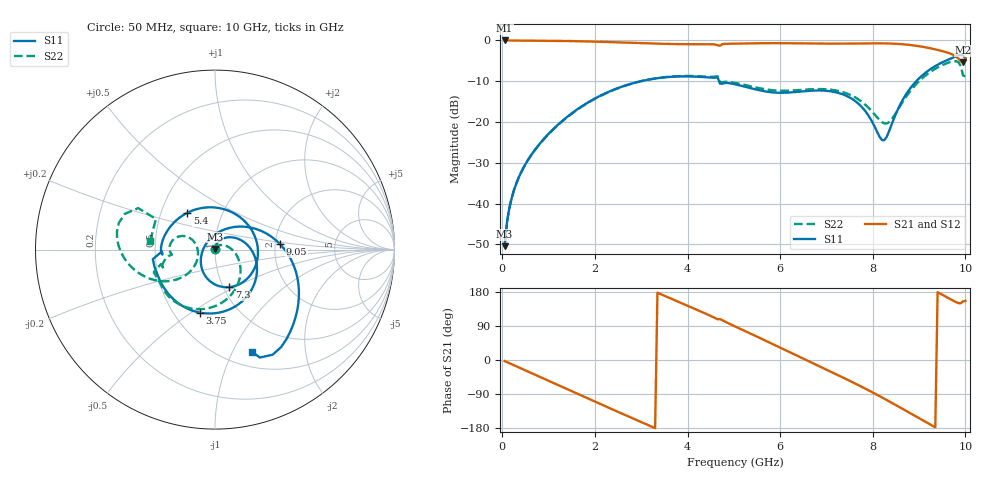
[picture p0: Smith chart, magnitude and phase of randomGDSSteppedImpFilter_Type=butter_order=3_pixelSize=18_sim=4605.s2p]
! freq	dB(S11)	phase(S11)	dB(S12)	phase(S12)
!  dB(S21)	phase(S21)	dB(S22)	phase(S22)
!S-par simulation data
#  GHz  S  DB  R 50
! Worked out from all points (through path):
!   200 points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, 50 MHz to 10 GHz, reference 50 ohm
!   highest |S21| = -0.01 dB at 50 MHz (marker M1); lowest = -5.4 dB at 9.95 GHz (marker M2)
!   group delay of S21, straight-line fit = 158 ps
!   lowest |S11| = -50.4 dB at 50 MHz (marker M3), VSWR 1.01, Z = 50.1 + j0.296 ohm
!   |S11| at or under -10 dB: start of sweep to 2.993 GHz; 4.681 GHz to 8.939 GHz (4.259 GHz wide, 62.5 % of centre)
!   |S22| runs from -50.4 to -5.1 dB; largest |S21 - S12| = 0
!   S11 on the Smith chart (normalised r, x): 50 MHz: 1.00, +0.01; 3.75 GHz: 0.67, -0.54; 5.4 GHz: 0.68, +0.30; 7.3 GHz: 1.06, -0.47; 9.05 GHz: 2.14, +0.14; 10 GHz: 0.66, -1.19
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0.05  -50.45 79.4  -0.01 -2.8  -0.01 -2.8  -50.39 76.7
0.2  -38.77 81.2  -0.02 -11.0  -0.02 -11.0  -38.71 70.1
0.5  -30.34 74.5  -0.04 -27.4  -0.04 -27.4  -30.35 48.9
1.15  -21.21 48.9  -0.11 -63.0  -0.11 -63.0  -21.30 5.2
1.75  -15.91 17.5  -0.22 -96.0  -0.22 -96.0  -16.00 -29.3
2.65  -11.08 -35.3  -0.53 -145.1  -0.53 -145.1  -11.10 -74.7
3.4  -9.18 -81.1  -0.81 174.9  -0.81 174.9  -9.15 -108.4
3.75  -8.85 -103.3  -0.90 156.5  -0.90 156.5  -8.78 -122.9
4.65  -9.10 -171.3  -1.18 107.4  -1.18 107.4  -8.80 -159.8
5.05  -10.81 161.1  -0.78 87.2  -0.78 87.2  -10.46 -165.2
5.4  -11.81 127.0  -0.71 67.4  -0.71 67.4  -11.34 -170.8
6.1  -12.82 47.1  -0.68 26.9  -0.68 26.9  -12.34 -173.5
6.7  -12.30 -16.2  -0.76 -8.0  -0.76 -8.0  -11.96 -179.5
7.3  -13.01 -69.3  -0.79 -42.9  -0.79 -42.9  -12.51 165.8
7.8  -16.79 -116.2  -0.73 -73.1  -0.73 -73.1  -15.38 155.3
8.2  -24.43 157.7  -0.72 -98.8  -0.72 -98.8  -20.05 174.4
8.35  -22.32 98.1  -0.75 -108.8  -0.75 -108.8  -20.04 -162.4
8.65  -14.51 43.1  -0.94 -129.4  -0.94 -129.4  -15.01 -138.9
9.05  -8.76 4.6  -1.51 -157.3  -1.51 -157.3  -9.46 -148.4
9.7  -4.38 -43.9  -3.35 159.0  -3.35 159.0  -5.21 173.7
9.95  -3.73 -67.5  -5.35 154.8  -5.35 154.8  -8.61 152.6
10  -4.35 -70.1  -4.30 156.0  -4.30 156.0  -8.76 172.7
